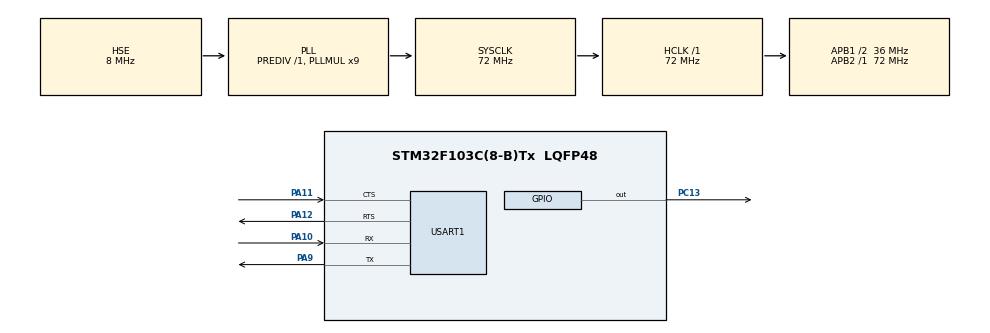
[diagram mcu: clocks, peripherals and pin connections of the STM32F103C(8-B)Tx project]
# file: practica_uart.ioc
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Mcu.Family=STM32F1
Mcu.Name=STM32F103C(8-B)Tx
Mcu.Package=LQFP48
NVIC.PriorityGroup=NVIC_PRIORITYGROUP_4
NVIC.USART1_IRQn=true\:0\:0\:false\:false\:true\:true\:true\:true
PA10.Mode=Asynchronous
PA10.Signal=USART1_RX
PA11.Mode=CTS_RTS
PA11.Signal=USART1_CTS
PA12.Mode=CTS_RTS
PA12.Signal=USART1_RTS
PA13.Mode=Serial_Wire
PA13.Signal=SYS_JTMS-SWDIO
PA14.Mode=Serial_Wire
PA14.Signal=SYS_JTCK-SWCLK
PA9.Mode=Asynchronous
PA9.Signal=USART1_TX
PC13-TAMPER-RTC.Signal=GPIO_Output
PD0-OSC_IN.Mode=HSE-External-Oscillator
PD0-OSC_IN.Signal=RCC_OSC_IN
PD1-OSC_OUT.Mode=HSE-External-Oscillator
PD1-OSC_OUT.Signal=RCC_OSC_OUT
ProjectManager.HeapSize=0x200
ProjectManager.StackSize=0x400
ProjectManager.TargetToolchain=STM32CubeIDE
RCC.AHBFreq_Value=72000000
RCC.APB1CLKDivider=RCC_HCLK_DIV2
RCC.APB1Freq_Value=36000000
RCC.APB1TimFreq_Value=72000000
RCC.APB2Freq_Value=72000000
RCC.APB2TimFreq_Value=72000000
RCC.HCLKFreq_Value=72000000
RCC.PLLMUL=RCC_PLL_MUL9
RCC.PLLSourceVirtual=RCC_PLLSOURCE_HSE
RCC.SYSCLKFreq_VALUE=72000000
RCC.SYSCLKSource=RCC_SYSCLKSOURCE_PLLCLK
RCC.USBFreq_Value=72000000
USART1.VirtualMode=VM_ASYNC
board=custom

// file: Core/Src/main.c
/* USER CODE BEGIN Header */
/**
 ******************************************************************************
 * @file           : main.c
 * @brief          : Main program body
 ******************************************************************************
 * @attention
 *
 * Copyright (c) 2025 STMicroelectronics.
 * All rights reserved.
 *
 * This software is licensed under terms that can be found in the LICENSE file
 * in the root directory of this software component.
 * If no LICENSE file comes with this software, it is provided AS-IS.
 *
 ******************************************************************************
 */
/* USER CODE END Header */
#include "main.h"

/* USER CODE BEGIN Includes */
#include <string.h>
#include <stdio.h>
/* USER CODE END Includes */

/* USER CODE BEGIN PD */
#define WAIT_TIME_MS 1000

#define STOP_MESSAGE "stop"
#define PLAY_MESSAGE "play"
#define RECEIVE_BUFFER_SIZE 32
#define SEND_BUFFER_SIZE 64

/* USER CODE END PD */

UART_HandleTypeDef huart1;

void SystemClock_Config(void);
static void MX_GPIO_Init(void);
static void MX_USART1_UART_Init(void);

/* USER CODE BEGIN 0 */
void HAL_UART_RxCpltCallback(UART_HandleTypeDef *huart);

typedef enum {
	STOP, PLAY,
} cmd_e;

cmd_e current_cmd = PLAY;

uint8_t buffer = '\0';
uint32_t buffer_index = 0;
char receive_message[RECEIVE_BUFFER_SIZE] = "\r\n";
char send_message[SEND_BUFFER_SIZE] = "Comenzando la prueba!\r\n";

/* USER CODE END 0 */

int main(void) {

	/* MCU Configuration--------------------------------------------------------*/

	/* Reset of all peripherals, Initializes the Flash interface and the Systick. */
	HAL_Init();

	/* Configure the system clock */
	SystemClock_Config();

	/* Initialize all configured peripherals */
	MX_GPIO_Init();
	MX_USART1_UART_Init();
	/* USER CODE BEGIN 2 */

	uint8_t seconds = 0;
	uint8_t minutes = 0;
	uint32_t tick_counter = HAL_GetTick();

	snprintf(send_message, sizeof(send_message),
			(const char*) "\n\r\n\r\n\r------TEST------\n\r");
	HAL_UART_Transmit(&huart1, (const uint8_t*) send_message,
			strlen(send_message), HAL_MAX_DELAY);

	HAL_UART_Receive_IT(&huart1, &buffer, sizeof(buffer));

	/* USER CODE END 2 */

	/* Infinite loop */
	while (1) {

		/* USER CODE BEGIN 3 */

		if ((HAL_GetTick() - tick_counter) >= WAIT_TIME_MS) {
			tick_counter = HAL_GetTick();

			if (current_cmd == STOP)
				continue;

			seconds++;
			if (seconds >= 60) {
				seconds = 0;
				minutes++;
			}

			if (seconds < 10 && minutes < 10) {
				snprintf(send_message, sizeof(send_message),
						(const char*) "(0%d:0%d)->Hello!\r\n", minutes,
						seconds);
			} else if (seconds >= 10 && minutes < 10) {
				snprintf(send_message, sizeof(send_message),
						(const char*) "(0%d:%d)->Hello!\r\n", minutes, seconds);
			} else if (seconds < 10 && minutes >= 10) {
				snprintf(send_message, sizeof(send_message),
						(const char*) "(%d:0%d)->Hello!\r\n", minutes, seconds);
			} else if (seconds >= 10 && minutes >= 10) {
				snprintf(send_message, sizeof(send_message),
						(const char*) "(%d:%d)->Hello!\r\n", minutes, seconds);
			}

			HAL_UART_Transmit(&huart1, (const uint8_t*) send_message,
					strlen(send_message), HAL_MAX_DELAY);

		}

	}
	/* USER CODE END 3 */
}

void SystemClock_Config(void) {
	RCC_OscInitTypeDef RCC_OscInitStruct = { 0 };
	RCC_ClkInitTypeDef RCC_ClkInitStruct = { 0 };

	/** Initializes the RCC Oscillators according to the specified parameters
	 * in the RCC_OscInitTypeDef structure.
	 */
	RCC_OscInitStruct.OscillatorType = RCC_OSCILLATORTYPE_HSE;
	RCC_OscInitStruct.HSEState = RCC_HSE_ON;
	RCC_OscInitStruct.HSEPredivValue = RCC_HSE_PREDIV_DIV1;
	RCC_OscInitStruct.HSIState = RCC_HSI_ON;
	RCC_OscInitStruct.PLL.PLLState = RCC_PLL_ON;
	RCC_OscInitStruct.PLL.PLLSource = RCC_PLLSOURCE_HSE;
	RCC_OscInitStruct.PLL.PLLMUL = RCC_PLL_MUL9;
	if (HAL_RCC_OscConfig(&RCC_OscInitStruct) != HAL_OK) {
		Error_Handler();
	}

	/** Initializes the CPU, AHB and APB buses clocks
	 */
	RCC_ClkInitStruct.ClockType = RCC_CLOCKTYPE_HCLK | RCC_CLOCKTYPE_SYSCLK
			| RCC_CLOCKTYPE_PCLK1 | RCC_CLOCKTYPE_PCLK2;
	RCC_ClkInitStruct.SYSCLKSource = RCC_SYSCLKSOURCE_PLLCLK;
	RCC_ClkInitStruct.AHBCLKDivider = RCC_SYSCLK_DIV1;
	RCC_ClkInitStruct.APB1CLKDivider = RCC_HCLK_DIV2;
	RCC_ClkInitStruct.APB2CLKDivider = RCC_HCLK_DIV1;

	if (HAL_RCC_ClockConfig(&RCC_ClkInitStruct, FLASH_LATENCY_2) != HAL_OK) {
		Error_Handler();
	}
}

static void MX_USART1_UART_Init(void) {

	huart1.Instance = USART1;
	huart1.Init.BaudRate = 115200;
	huart1.Init.WordLength = UART_WORDLENGTH_8B;
	huart1.Init.StopBits = UART_STOPBITS_1;
	huart1.Init.Parity = UART_PARITY_NONE;
	huart1.Init.Mode = UART_MODE_TX_RX;
	huart1.Init.HwFlowCtl = UART_HWCONTROL_RTS_CTS;
	huart1.Init.OverSampling = UART_OVERSAMPLING_16;
	if (HAL_UART_Init(&huart1) != HAL_OK) {
		Error_Handler();
	}

}

static void MX_GPIO_Init(void) {
	GPIO_InitTypeDef GPIO_InitStruct = { 0 };

	/* GPIO Ports Clock Enable */
	__HAL_RCC_GPIOC_CLK_ENABLE();
	__HAL_RCC_GPIOD_CLK_ENABLE();
	__HAL_RCC_GPIOA_CLK_ENABLE();

	/*Configure GPIO pin Output Level */
	HAL_GPIO_WritePin(GPIOC, GPIO_PIN_13, GPIO_PIN_RESET);

	/*Configure GPIO pin : PC13 */
	GPIO_InitStruct.Pin = GPIO_PIN_13;
	GPIO_InitStruct.Mode = GPIO_MODE_OUTPUT_PP;
	GPIO_InitStruct.Pull = GPIO_NOPULL;
	GPIO_InitStruct.Speed = GPIO_SPEED_FREQ_LOW;
	HAL_GPIO_Init(GPIOC, &GPIO_InitStruct);

}

/* USER CODE BEGIN 4 */

void HAL_UART_RxCpltCallback(UART_HandleTypeDef *huart) {
	if (buffer == '\n' || buffer == '\r') {
		if (strcmp(receive_message, STOP_MESSAGE) == 0) {
			current_cmd = STOP;
			snprintf(send_message, sizeof(send_message),
					(const char*) "COMANDO-> STOP\r\n");
			HAL_UART_Transmit(&huart1, (const uint8_t*) send_message,
					strlen(send_message), HAL_MAX_DELAY);
		} else if (strcmp(receive_message, PLAY_MESSAGE) == 0) {
			current_cmd = PLAY;
			snprintf(send_message, sizeof(send_message),
					(const char*) "COMANDO-> PLAY\r\n");
			HAL_UART_Transmit(&huart1, (const uint8_t*) send_message,
					strlen(send_message), HAL_MAX_DELAY);
		} else {
			// Acá debería imprimir un mensaje que diga que
			// hubo un error procesando el comando o algo así
			snprintf(send_message, sizeof(send_message),
					(const char*) "ERROR-> Comando Inválido: %s\r\n",
					(char*) receive_message);
			HAL_UART_Transmit(&huart1, (const uint8_t*) send_message,
					strlen(send_message), HAL_MAX_DELAY);
		}

		memset((char*) receive_message, 0, RECEIVE_BUFFER_SIZE);
		buffer_index = 0;
	} else {
		if (buffer_index >= RECEIVE_BUFFER_SIZE)
			buffer_index = 0;

		receive_message[buffer_index++] = buffer;
	}

	HAL_UART_Receive_IT(&huart1, &buffer, sizeof(buffer));
}

/* USER CODE END 4 */

void Error_Handler(void) {
	__disable_irq();
	while (1) {
	}
}
